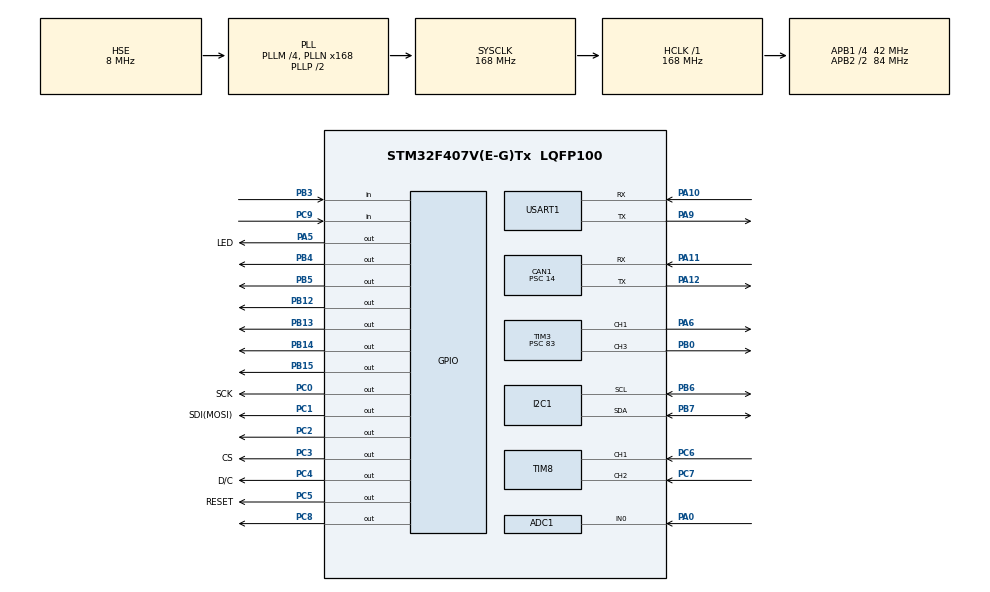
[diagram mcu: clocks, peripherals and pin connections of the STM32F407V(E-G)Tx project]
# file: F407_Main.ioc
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ADC1.InjNumberOfConversion=0
ADC1.NbrOfConversion=1
ADC1.NbrOfConversionFlag=1
ADC1.Resolution=ADC_RESOLUTION_12B
ADC1.master=1
CAN1.ABOM=ENABLE
CAN1.BS1=CAN_BS1_9TQ
CAN1.BS2=CAN_BS2_2TQ
CAN1.CalculateBaudRate=249999
CAN1.CalculateTimeBit=4000
CAN1.CalculateTimeQuantum=333.33333333333337
CAN1.Mode=CAN_MODE_NORMAL
CAN1.NART=ENABLE
CAN1.Prescaler=14
FREERTOS.Tasks01=defaultTask,24,128,StartDefaultTask,Default,NULL,Dynamic,NULL,NULL
FREERTOS.configENABLE_FPU=1
Mcu.Family=STM32F4
Mcu.Name=STM32F407V(E-G)Tx
Mcu.Package=LQFP100
NVIC.CAN1_RX0_IRQn=true\:5\:0\:false\:false\:true\:true\:true\:true\:true
NVIC.PriorityGroup=NVIC_PRIORITYGROUP_4
NVIC.TIM2_IRQn=true\:5\:0\:false\:false\:true\:true\:true\:true\:true
PA0-WKUP.Signal=ADCx_IN0
PA10.Mode=Asynchronous
PA10.Signal=USART1_RX
PA11.Mode=CAN_Activate
PA11.Signal=CAN1_RX
PA12.Mode=CAN_Activate
PA12.Signal=CAN1_TX
PA13.Mode=Serial_Wire
PA13.Signal=SYS_JTMS-SWDIO
PA14.Mode=Serial_Wire
PA14.Signal=SYS_JTCK-SWCLK
PA5.GPIO_Label=LED
PA5.Signal=GPIO_Output
PA6.Signal=S_TIM3_CH1
PA9.Mode=Asynchronous
PA9.Signal=USART1_TX
PB0.Signal=S_TIM3_CH3
PB12.Signal=GPIO_Output
PB13.Signal=GPIO_Output
PB14.Signal=GPIO_Output
PB15.Signal=GPIO_Output
PB3.Signal=GPIO_Input
PB4.Signal=GPIO_Output
PB5.Signal=GPIO_Output
PB6.Mode=I2C
PB6.Signal=I2C1_SCL
PB7.Mode=I2C
PB7.Signal=I2C1_SDA
PC0.GPIO_Label=SCK
PC0.Signal=GPIO_Output
PC1.GPIO_Label=SDI(MOSI)
PC1.Signal=GPIO_Output
PC14-OSC32_IN.Mode=LSE-External-Oscillator
PC14-OSC32_IN.Signal=RCC_OSC32_IN
PC15-OSC32_OUT.Mode=LSE-External-Oscillator
PC15-OSC32_OUT.Signal=RCC_OSC32_OUT
PC2.Signal=GPIO_Output
PC3.GPIO_Label=CS
PC3.PinState=GPIO_PIN_SET
PC3.Signal=GPIO_Output
PC4.GPIO_Label=D/C
PC4.Signal=GPIO_Output
PC5.GPIO_Label=RESET
PC5.PinState=GPIO_PIN_SET
PC5.Signal=GPIO_Output
PC6.Signal=S_TIM8_CH1
PC7.Signal=S_TIM8_CH2
PC8.Signal=GPIO_Output
PC9.Signal=GPIO_Input
PH0-OSC_IN.Mode=HSE-External-Oscillator
PH0-OSC_IN.Signal=RCC_OSC_IN
PH1-OSC_OUT.Mode=HSE-External-Oscillator
PH1-OSC_OUT.Signal=RCC_OSC_OUT
ProjectManager.HeapSize=0x200
ProjectManager.StackSize=0x400
ProjectManager.TargetToolchain=MDK-ARM V5.32
RCC.48MHZClocksFreq_Value=84000000
RCC.AHBFreq_Value=168000000
RCC.APB1CLKDivider=RCC_HCLK_DIV4
RCC.APB1Freq_Value=42000000
RCC.APB1TimFreq_Value=84000000
RCC.APB2CLKDivider=RCC_HCLK_DIV2
RCC.APB2Freq_Value=84000000
RCC.APB2TimFreq_Value=168000000
RCC.CortexFreq_Value=168000000
RCC.HCLKFreq_Value=168000000
RCC.HSE_VALUE=8000000
RCC.HSI_VALUE=16000000
RCC.PLLM=4
RCC.PLLN=168
RCC.PLLSourceVirtual=RCC_PLLSOURCE_HSE
RCC.SYSCLKFreq_VALUE=168000000
RCC.SYSCLKSource=RCC_SYSCLKSOURCE_PLLCLK
RCC.VCOOutputFreq_Value=336000000
SH.ADCx_IN0.0=ADC1_IN0,IN0
SH.S_TIM3_CH1.0=TIM3_CH1,PWM Generation1 CH1
SH.S_TIM3_CH3.0=TIM3_CH3,PWM Generation3 CH3
SH.S_TIM8_CH1.0=TIM8_CH1,Encoder_Interface
SH.S_TIM8_CH2.0=TIM8_CH2,Encoder_Interface
TIM2.Period=9999
TIM2.Prescaler=8399
TIM3.AutoReloadPreload=TIM_AUTORELOAD_PRELOAD_ENABLE
TIM3.Channel-PWM\ Generation1\ CH1=TIM_CHANNEL_1
TIM3.Channel-PWM\ Generation3\ CH3=TIM_CHANNEL_3
TIM3.Period=999
TIM3.Prescaler=83
TIM3.Pulse-PWM\ Generation1\ CH1=0
TIM8.EncoderMode=TIM_ENCODERMODE_TI12
TIM8.IC1Filter=8
TIM8.IC2Filter=8
USART1.VirtualMode=VM_ASYNC
VP_FREERTOS_VS_CMSIS_V2.Mode=CMSIS_V2
VP_TIM2_VS_ClockSourceINT.Mode=Internal
board=custom

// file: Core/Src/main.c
/* USER CODE BEGIN Header */
/**
  ******************************************************************************
  * @file           : main.c
  * @brief          : Main program body
  ******************************************************************************
  * @attention
  *
  * Copyright (c) 2026 STMicroelectronics.
  * All rights reserved.
  *
  * This software is licensed under terms that can be found in the LICENSE file
  * in the root directory of this software component.
  * If no LICENSE file comes with this software, it is provided AS-IS.
  *
  ******************************************************************************
  */
/* USER CODE END Header */
#include "main.h"
#include "cmsis_os.h"
#include "adc.h"
#include "can.h"
#include "i2c.h"
#include "tim.h"
#include "usart.h"
#include "gpio.h"

/* USER CODE BEGIN Includes */
#include "Int_aht20.h"
#include <stdio.h>
#include <string.h>
#include "Int_can.h"
#include "Int_motor.h"
#include "lcd_ili9341.h"
#include "Int_XPT2046.h"
#include "lvgl.h"
#include "lv_port_disp.h"
/* USER CODE END Includes */

/* USER CODE BEGIN PV */
uint8_t can_test_data[8] =
{
    0x01,  /* ???PING */
    0x01,  /* ????1 */
    0x01,  /* ??????1 */
    0x00,  /* ?????? */
    0x00,  /* ?????? */
    0x00,  /* ???? */
    0x00,  /* ?? */
    0x03   /* ????01+01+01=03 */
};

volatile HAL_StatusTypeDef can_tx_status = HAL_ERROR;
volatile uint32_t can_tx_count = 0;

volatile uint32_t f407_rx_count = 0;
volatile uint32_t f407_last_id = 0;
volatile uint8_t  f407_last_dlc = 0;
volatile uint8_t  f407_last_data[8] = {0};

/* USER CODE END PV */

void SystemClock_Config(void);
void MX_FREERTOS_Init(void);

int main(void)
{

  /* MCU Configuration--------------------------------------------------------*/

  /* Reset of all peripherals, Initializes the Flash interface and the Systick. */
  HAL_Init();

  /* Configure the system clock */
  SystemClock_Config();

  /* Initialize all configured peripherals */
  MX_GPIO_Init();
  MX_USART1_UART_Init();
  MX_TIM2_Init();
  MX_TIM3_Init();
  MX_ADC1_Init();
  MX_I2C1_Init();
  MX_CAN1_Init();
  MX_TIM8_Init();
  /* USER CODE BEGIN 2 */
  Int_XPT2046_Init();
  LCD_Init();
  /* 初始化 LVGL 内核与显示驱动 */
  lv_init();
  lv_port_disp_init();

  /* 启动 CAN，使能接收（此前诊断阶段临时注释，现已查明卡死与 CAN 无关） */
  if (INT_CAN_Start() != HAL_OK)
  {
      Error_Handler();
  }

  HAL_Delay(100);

  // can_tx_status =
  //     INT_CAN_SendStd(0x123, can_test_data, 8, 100);

  can_tx_count++;
  // AHT20_Status_t aht_status;
  // AHT20_Data_t aht_data;

  // aht_status = AHT20_Init();

  // if (aht_status == AHT20_OK)
  // {
  //     const char *msg = "AHT20 Init OK\r\n";

  //     HAL_UART_Transmit(&huart1,
  //                       (uint8_t *)msg,
  //                       strlen(msg),
  //                       1000);
  // }
  // else
  // {
  //     const char *msg = "AHT20 Init FAILED\r\n";

  //     HAL_UART_Transmit(&huart1,
  //                       (uint8_t *)msg,
  //                       strlen(msg),
  //                       1000);
  // }

  /* USER CODE END 2 */

  /* Init scheduler */
  osKernelInitialize();

  /* Call init function for freertos objects (in cmsis_os2.c) */
  MX_FREERTOS_Init();

  /* Start scheduler */
  osKernelStart();

  /* We should never get here as control is now taken by the scheduler */

  /* Infinite loop */
  while (1)
  {

  }
}

void SystemClock_Config(void)
{
  RCC_OscInitTypeDef RCC_OscInitStruct = {0};
  RCC_ClkInitTypeDef RCC_ClkInitStruct = {0};

  /** Configure the main internal regulator output voltage
  */
  __HAL_RCC_PWR_CLK_ENABLE();
  __HAL_PWR_VOLTAGESCALING_CONFIG(PWR_REGULATOR_VOLTAGE_SCALE1);

  /** Initializes the RCC Oscillators according to the specified parameters
  * in the RCC_OscInitTypeDef structure.
  */
  RCC_OscInitStruct.OscillatorType = RCC_OSCILLATORTYPE_HSE;
  RCC_OscInitStruct.HSEState = RCC_HSE_ON;
  RCC_OscInitStruct.PLL.PLLState = RCC_PLL_ON;
  RCC_OscInitStruct.PLL.PLLSource = RCC_PLLSOURCE_HSE;
  RCC_OscInitStruct.PLL.PLLM = 4;
  RCC_OscInitStruct.PLL.PLLN = 168;
  RCC_OscInitStruct.PLL.PLLP = RCC_PLLP_DIV2;
  RCC_OscInitStruct.PLL.PLLQ = 4;
  if (HAL_RCC_OscConfig(&RCC_OscInitStruct) != HAL_OK)
  {
    Error_Handler();
  }

  /** Initializes the CPU, AHB and APB buses clocks
  */
  RCC_ClkInitStruct.ClockType = RCC_CLOCKTYPE_HCLK|RCC_CLOCKTYPE_SYSCLK
                              |RCC_CLOCKTYPE_PCLK1|RCC_CLOCKTYPE_PCLK2;
  RCC_ClkInitStruct.SYSCLKSource = RCC_SYSCLKSOURCE_PLLCLK;
  RCC_ClkInitStruct.AHBCLKDivider = RCC_SYSCLK_DIV1;
  RCC_ClkInitStruct.APB1CLKDivider = RCC_HCLK_DIV4;
  RCC_ClkInitStruct.APB2CLKDivider = RCC_HCLK_DIV2;

  if (HAL_RCC_ClockConfig(&RCC_ClkInitStruct, FLASH_LATENCY_5) != HAL_OK)
  {
    Error_Handler();
  }
}

void Error_Handler(void)
{
  __disable_irq();
  while (1)
  {
  }
}

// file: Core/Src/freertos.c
/* USER CODE BEGIN Header */
/**
  ******************************************************************************
  * File Name          : freertos.c
  * Description        : Code for freertos applications
  ******************************************************************************
  * @attention
  *
  * Copyright (c) 2026 STMicroelectronics.
  * All rights reserved.
  *
  * This software is licensed under terms that can be found in the LICENSE file
  * in the root directory of this software component.
  * If no LICENSE file comes with this software, it is provided AS-IS.
  *
  ******************************************************************************
  */
/* USER CODE END Header */

#include "FreeRTOS.h"
#include "task.h"
#include "main.h"
#include "cmsis_os.h"

/* USER CODE BEGIN Includes */
#include "cmsis_os2.h"
#include <stdio.h>
#include <string.h>
#include <math.h>
#include "usart.h"
#include "App_data.h"
#include "adc.h"
#include "Int_aht20.h"
#include "tim.h"
#include "Int_motor.h"
#include "Int_Encoder.h"
#include "App_MotorCan.h"
#include "App_MotorControl.h"
#include "App_MotorFeedback.h"
#include <App_Fault.h>
#include "App_lcd_ui.h"
#include "Int_can.h"
#include "Int_XPT2046.h"
#include "App_Touch.h"
/* USER CODE END Includes */

/* USER CODE BEGIN Variables */
osMessageQueueId_t SensorDataQueueHandle;/* ?????????? */
/* ?? Int_can.c ???????????? */
extern volatile uint32_t g_can_last_id;
extern volatile uint8_t g_can_last_dlc;
extern volatile uint8_t g_can_last_data[8];
extern volatile uint32_t g_can_rx_count;

extern volatile uint16_t g_touch_raw_x;
extern volatile uint16_t g_touch_raw_y;

volatile uint8_t g_touch_pressed = 0;

volatile uint16_t g_touch_screen_x = 0;
volatile uint16_t g_touch_screen_y = 0;

/* 电机真实运行数据，供 LCD_Test_Task 显示 */
volatile float g_ui_target_rpm = 0.0f;
volatile float g_ui_actual_rpm = 0.0f;
volatile int16_t g_ui_pwm = 0;
/* USER CODE END Variables */
/* Definitions for defaultTask */
osThreadId_t defaultTaskHandle;
const osThreadAttr_t defaultTask_attributes = {
  .name = "defaultTask",
  .stack_size = 128 * 4,
  .priority = (osPriority_t) osPriorityNormal,
};

/* USER CODE BEGIN FunctionPrototypes */
// LED ??
void LED_Task(void *argument);
// Debug ??
void Debug_Task(void *argument);
// Sensor ??
void Sensor_Task(void *argument);
// PWM ????????
// void PWM_Test_Task(void *argument);
// CAN ??????
void App_MotorCan_ControlTask(void *argument);

void LCD_Test_Task(void *argument);
/* USER CODE END FunctionPrototypes */

void StartDefaultTask(void *argument);

void MX_FREERTOS_Init(void); /* (MISRA C 2004 rule 8.1) */

void MX_FREERTOS_Init(void) {
  /* USER CODE BEGIN Init */

  const osMessageQueueAttr_t SensorDataQueue_attributes = {
    .name = "SensorDataQueue"
  };// ??????????

  SensorDataQueueHandle = osMessageQueueNew(
      8,
      sizeof(SensorData_t),
      &SensorDataQueue_attributes
  );// ??????????
  if (SensorDataQueueHandle == NULL)
  {
      /* ???????????????? */
  }

  const osThreadAttr_t sensorTask_attributes = {
      .name = "Sensor_Task",
      .stack_size = 768 * 4,
      .priority = (osPriority_t)osPriorityNormal
  };

  const osThreadAttr_t ledTask_attributes = {
    .name = "LED_Task",
    .stack_size = 256 * 4,
    .priority = (osPriority_t)osPriorityLow
  };

  const osThreadAttr_t debugTask_attributes = {
      .name = "Debug_Task",
      .stack_size = 768 * 4,
      .priority = (osPriority_t)osPriorityNormal
  };

  /* PWM_Test_Task ???????????? Motor_CAN_Control_Task ?? */
  const osThreadAttr_t motorCanTask_attributes = {
        .name = "Motor_CAN",
        .stack_size = 1024 * 4,
        .priority = (osPriority_t)osPriorityHigh,
    };

  const osThreadAttr_t lcdTask_attributes = {
    .name = "lcdTask",
    .stack_size = 2048 * 4,   /* 8KB，容纳 LVGL 渲染调用栈（原 2KB 会爆栈） */
    .priority = (osPriority_t)osPriorityLow,
    };

    // [诊断] 暂不创建 LCD_Test_Task（它依赖 LVGL，LVGL 当前被注释）
    // osThreadNew(LCD_Test_Task, NULL, &lcdTask_attributes);
    osThreadNew(LCD_Test_Task, NULL, &lcdTask_attributes);
    osThreadNew(App_MotorCan_ControlTask, NULL, &motorCanTask_attributes);
    osThreadNew(LED_Task, NULL, &ledTask_attributes);
    osThreadNew(Debug_Task, NULL, &debugTask_attributes);
    osThreadNew(Sensor_Task,NULL,&sensorTask_attributes);

  /* USER CODE END Init */

  /* Create the thread(s) */
  /* creation of defaultTask */
  defaultTaskHandle = osThreadNew(StartDefaultTask, NULL, &defaultTask_attributes);

}

void StartDefaultTask(void *argument)
{
  for(;;)
  {
    osDelay(1);
  }
}

/* USER CODE BEGIN Application */
void LED_Task(void *argument)
{
  (void)argument;

  for (;;)
  {
      HAL_GPIO_TogglePin(LED_GPIO_Port,
                          LED_Pin);

      osDelay(500);
  }
}
void Debug_Task(void *argument)
{
    SensorData_t data;
    char msg[160];

    (void)argument;

    for (;;)
    {
        /*
         * ??????????
         * osWaitForever ????????????
         * ?????????? CPU??
         */
        if (osMessageQueueGet(
                SensorDataQueueHandle,
                &data,
                NULL,
                osWaitForever) == osOK)
        {
            int len;

            if (data.aht20_valid != 0U)//
            {
                len = snprintf(
                    msg,
                    sizeof(msg),
                    "ADC=%lu V=%.3f T=%.2fC H=%.2f%%RH\r\n",
                    (unsigned long)data.adc_raw,
                    (double)data.adc_voltage,
                    (double)data.temperature,
                    (double)data.humidity
                );
            }
            else
            {
                len = snprintf(
                    msg,
                    sizeof(msg),
                    "ADC=%lu V=%.3f AHT20=ERROR\r\n",
                    (unsigned long)data.adc_raw,
                    (double)data.adc_voltage
                );
            }

            /* 串口输出已移至屏幕显示 */
            (void)len;
        }
    }
}

static uint8_t ADC_ReadRaw(uint32_t *value)
{
    if (value == NULL)
    {
        return 1U;
    }

    /* ?????? ADC ?? */
    if (HAL_ADC_Start(&hadc1) != HAL_OK)
    {
        return 2U;
    }

    /* ???????????? 100 ms */
    if (HAL_ADC_PollForConversion(&hadc1, 100) != HAL_OK)
    {
        HAL_ADC_Stop(&hadc1);
        return 3U;
    }

    /* ?? 12 ?? ADC ???? */
    *value = HAL_ADC_GetValue(&hadc1);

    HAL_ADC_Stop(&hadc1);

    return 0U;
}

void Sensor_Task(void *argument)
{
    SensorData_t data;
    AHT20_Data_t aht;

    (void)argument;

    for (;;)
    {
        data.adc_raw = 0;
        data.adc_voltage = 0.0f;
        data.temperature = 0.0f;
        data.humidity = 0.0f;
        data.aht20_valid = 0U;

        /* ?? PA0 ???? ADC ?? */
        if (ADC_ReadRaw(&data.adc_raw) == 0U)
        {
            data.adc_voltage =
                (float)data.adc_raw * 3.3f / 4095.0f;
        }

        /* ?? AHT20 */
        if (AHT20_ReadData(&aht) == AHT20_OK)
        {
            data.temperature = aht.temperature;
            data.humidity = aht.humidity;
            data.aht20_valid = 1U;
        }

        /*
         * ???? HAL_GetTick() ????????
         * ????????????????????????
         */
        data.timestamp_ms = HAL_GetTick();

        /*
         * ?????????? 10 ms??
         * ????????????????????????
         */
        (void)osMessageQueuePut(
            SensorDataQueueHandle,
            &data,
            0U,
            10U
        );

        osDelay(500);
    }
}

/* PID ???? */
#define MOTOR_MAX_RPM       169.0f

/* ?? Motor_CAN ???????? PI?App_SpeedPID.c ???????????? */
/* ???????? */
#define SPEED_PID_KP        10.0f
#define SPEED_PID_KI        1.0f

#define SPEED_PID_I_LIMIT   400.0f
#define SPEED_PID_PWM_MAX   1000.0f
#define SPEED_PID_DT        0.05f
/* ?? CAN ?????? RPM???? PI ?? PWM */
void App_MotorCan_ControlTask(void *argument)
{
    int16_t current_pwm = 0;
    int16_t can_speed = 0;

    uint32_t last_rx_tick;
    uint32_t print_cnt = 0;
    uint32_t last_loop_tick;

    uint8_t can_timeout_reported = 0U;

    float target_rpm = 0.0f;
    float previous_target_rpm = 0.0f;
    float actual_rpm = 0.0f;
    float error = 0.0f;
    float integral = 0.0f;
    float output = 0.0f;
    float dt = SPEED_PID_DT;

    char dbg_buf[128];

    (void)argument;

    Int_Motor_Init();
    Int_Encoder_Init();
    Int_Motor_Stop();

    last_loop_tick = HAL_GetTick();

    for (;;)
    {
        uint32_t now = HAL_GetTick();

        /* ???????? */
        uint32_t elapsed_ms = (uint32_t)(now - last_loop_tick);
        last_loop_tick = now;

        dt = (float)elapsed_ms / 1000.0f;

        /* ?? dt ?????????? */
        if (dt < 0.01f || dt > 0.20f)
        {
            dt = SPEED_PID_DT;
        }

        last_rx_tick = App_MotorCan_GetLastRxTick();

        /* 急停/异常停机锁存优先：E-STOP 后忽略一切目标并停机，直到显式复位 */
        if (App_MotorControl_IsEMLatched())
        {
            can_timeout_reported = 0U;

            can_speed = 0;
            target_rpm = 0.0f;

            App_Fault_Clear(FAULT_CAN_TIMEOUT);
        }
        /* 强制停机锁存优先：STOP 后忽略一切外部目标，直到再次 START */
        else if (App_MotorControl_IsStopLatched())
        {
            can_timeout_reported = 0U;

            can_speed = 0;
            target_rpm = 0.0f;

            App_Fault_Clear(FAULT_CAN_TIMEOUT);
        }
        /* 本地(LCD)控制优先：控制页生效时，以本地目标速度为源 */
        else if (App_MotorControl_IsActive())
        {
            can_timeout_reported = 0U;

            can_speed = App_MotorControl_GetTargetSpeed();

            App_Fault_Clear(FAULT_CAN_TIMEOUT);

            /* CAN ???????? RPM */
            target_rpm =
                ((float)can_speed / 1000.0f) * MOTOR_MAX_RPM;
        }
        /* 本地控制未生效：按 CAN ?????? */
        else if (last_rx_tick == 0U ||
            (uint32_t)(now - last_rx_tick) > 500U)
        {
            can_speed = 0;
            target_rpm = 0.0f;

            App_Fault_Set(FAULT_CAN_TIMEOUT);

            /* ??????????????????????????? */
            if (can_timeout_reported == 0U)
            {
                can_timeout_reported = 1U;

                (void)App_MotorFeedback_Send(
                    MOTOR_STATE_FAULT,
                    0,
                    0U,
                    0U,
                    MOTOR_FAULT_CAN_TIMEOUT
                );
            }
        }
        else
        {
            can_timeout_reported = 0U;

            can_speed = App_MotorCan_GetTargetSpeed();

            App_Fault_Clear(FAULT_CAN_TIMEOUT);

            /* CAN ???????? RPM */
            target_rpm =
                ((float)can_speed / 1000.0f) * MOTOR_MAX_RPM;
        }

        /* ?????????? RPM */
        actual_rpm = Int_Encoder_GetOutputRPM(dt);

        /* ?????????????????????? */
        if (fabsf(target_rpm - previous_target_rpm) > 5.0f)
        {
            integral = 0.0f;
        }

        previous_target_rpm = target_rpm;

        /*
         * ???? 0 ????????
         * ????????????????????????
         */
        if (target_rpm == 0.0f)
        {
            integral = 0.0f;
            error = 0.0f;
            output = 0.0f;
            current_pwm = 0;

            Int_Motor_Stop();
        }
        else
        {
            error = target_rpm - actual_rpm;

            /* PI ?? */
            integral += error * dt;

            if (integral > SPEED_PID_I_LIMIT)
            {
                integral = SPEED_PID_I_LIMIT;
            }
            else if (integral < -SPEED_PID_I_LIMIT)
            {
                integral = -SPEED_PID_I_LIMIT;
            }

            output = SPEED_PID_KP * error
                   + SPEED_PID_KI * integral;

            /* PWM ?? */
            if (output > SPEED_PID_PWM_MAX)
            {
                output = SPEED_PID_PWM_MAX;
            }
            else if (output < -SPEED_PID_PWM_MAX)
            {
                output = -SPEED_PID_PWM_MAX;
            }

            current_pwm = (int16_t)output;

            Int_Motor_SetSpeed(current_pwm);
        }

        /* PWM/转速数据已在屏幕上显示，不再重复串口打印 */
        (void)print_cnt;

        /* 更新供 LCD_Test_Task 读取的真实运行数据 */
        g_ui_target_rpm = target_rpm;
        g_ui_actual_rpm = actual_rpm;
        g_ui_pwm = current_pwm;

        osDelay(50);
    }
}

#include "lvgl.h"
#include "cmsis_os.h"
#include "App_lcd_ui.h"
#include "Int_can.h"
#include "Int_XPT2046.h"
#include "App_Fault.h"
#include <stdint.h>

void LCD_Test_Task(void *argument)
{
    uint32_t can_id = 0U;
    uint32_t rx_count = 0U;
    uint32_t last_rx_count = 0U;
    uint32_t last_rx_tick = 0U;
    uint32_t now;

    uint32_t last_ui_tick = 0U;
    uint32_t last_touch_tick = 0U;

    uint8_t dlc = 0U;
    uint8_t data[8] = {0};
    uint8_t can_online = 0U;
    uint8_t i;

    (void)argument;

    /*
     * 前提：
     * lv_init() 和 lv_port_disp_init()
     * 已经在其他初始化代码中执行。
     *
     * 本任务负责创建页面、更新控件、
     * 调用 lv_timer_handler()。
     */

    /* 初始化 LVGL 触摸输入设备 */
    App_Touch_LVGL_Init();

    /* 创建仪表盘页面 */
    LCD_UI_ShowHomePage();

    now = HAL_GetTick();
    last_ui_tick = now;
    last_touch_tick = now;

    for (;;)
    {
        now = HAL_GetTick();

        /*
         * 1. 定期更新 CAN、电机和故障信息
         *    每 200 ms 更新一次界面数据
         */
        if ((uint32_t)(now - last_ui_tick) >= 200U)
        {
            last_ui_tick = now;

            /*
             * 读取最新 CAN 接收状态
             */
            rx_count = g_can_rx_count;

            if (rx_count != last_rx_count)
            {
                last_rx_count = rx_count;
                last_rx_tick = now;
            }

            /*
             * 读取最新 CAN 帧
             */
            can_id = g_can_last_id;
            dlc = g_can_last_dlc;

            if (dlc > 8U)
            {
                dlc = 8U;
            }

            for (i = 0U; i < 8U; i++)
            {
                data[i] = g_can_last_data[i];
            }

            /*
             * 判断 CAN 是否在线
             * 500 ms 内收到过数据视为在线
             */
            if ((rx_count > 0U) &&
                ((uint32_t)(now - last_rx_tick) <= 500U))
            {
                can_online = 1U;
            }
            else
            {
                can_online = 0U;
            }

            /*
             * 更新 LVGL 控件。
             * 这些函数现在必须使用 LVGL API，
             * 不要再调用 LCD_FillRect、
             * LCD_ShowString 等旧绘图函数。
             */
            LCD_UI_UpdateCAN(
                can_id,
                dlc,
                data,
                rx_count,
                can_online
            );

            LCD_UI_UpdateMotor(
                can_id,
                dlc,
                data
            );

            LCD_UI_UpdateFault(g_fault_flags);

            /* 显示电机真实转速、目标转速与 PWM 占空比 */
            LCD_UI_UpdateSpeed(
                g_ui_target_rpm,
                g_ui_actual_rpm,
                g_ui_pwm);

            /* 控制页：刷新真实电机运行状态 */
            LCD_UI_UpdateControlStatus(
                g_ui_actual_rpm,
                g_ui_pwm);
        }

        /*
         * 2. 每 20 ms 采样一次触摸屏
         *
         * 这里仅采集和映射坐标；
         * 还没有把 XPT2046 注册为 LVGL 输入设备。
         */
        if ((uint32_t)(now - last_touch_tick) >= 20U)
        {
            last_touch_tick = now;

            g_touch_pressed = Int_XPT2046_IsPressed();

            if (g_touch_pressed)
            {
                Int_XPT2046_ReadRaw(
                    (uint16_t *)&g_touch_raw_x,
                    (uint16_t *)&g_touch_raw_y
                );

                App_Touch_Map(
                    g_touch_raw_x,
                    g_touch_raw_y,
                    (uint16_t *)&g_touch_screen_x,
                    (uint16_t *)&g_touch_screen_y
                );
            }
        }

        /*
         * 3. 持续处理 LVGL 定时器和屏幕刷新
         */
        lv_timer_handler();

        /*
         * 4. 让出 CPU，避免任务持续占用处理器
         */
        osDelay(5);
    }
}

/* USER CODE END Application */
